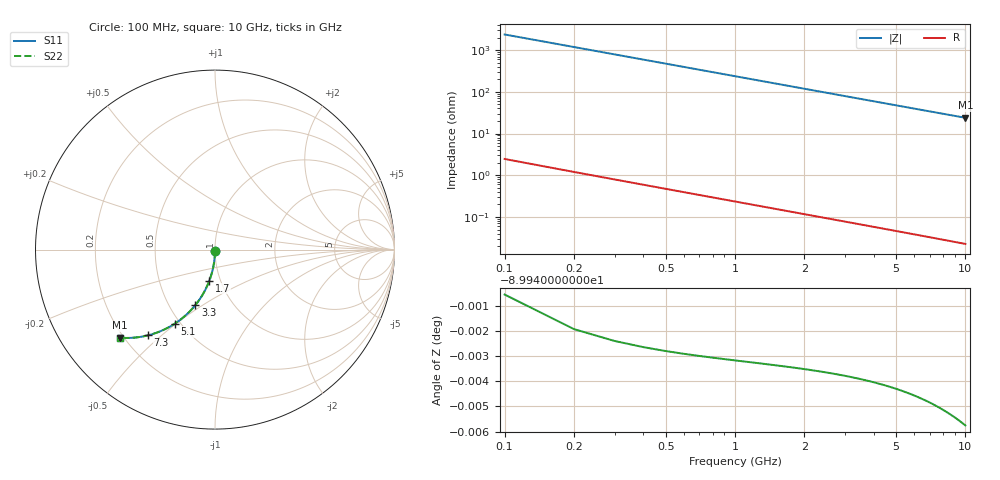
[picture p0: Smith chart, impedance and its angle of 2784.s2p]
# Hz S RI R 50.00
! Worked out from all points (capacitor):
!   100 points, 100 MHz to 10 GHz, reference 50 ohm
!   read as one part in shunt: C = 673 fF near 100 MHz
!   lowest |Z| = 23.8 ohm at 10 GHz (marker M1)
!   S11 on the Smith chart (normalised r, x): 100 MHz: 1.00, -0.02; 1.7 GHz: 0.89, -0.32; 3.3 GHz: 0.67, -0.47; 5.1 GHz: 0.47, -0.49; 7.3 GHz: 0.30, -0.45; 10 GHz: 0.19, -0.38
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1e8  -7.54e-05 -0.0105  0.9998 -0.0106  0.9998 -0.0106  -7.54e-05 -0.0105
2e8  -0.000421 -0.021  0.9995 -0.0213  0.9995 -0.0213  -0.000421 -0.021
3e8  -0.000989 -0.0315  0.9989 -0.0319  0.9989 -0.0319  -0.000989 -0.0315
4e8  -0.00178 -0.0419  0.9981 -0.0425  0.9981 -0.0425  -0.00178 -0.0419
5e8  -0.00279 -0.0523  0.9971 -0.0531  0.9971 -0.0531  -0.00279 -0.0523
6e8  -0.00402 -0.0627  0.9959 -0.0636  0.9959 -0.0636  -0.00402 -0.0627
8e8  -0.00714 -0.0833  0.9928 -0.0846  0.9928 -0.0846  -0.00714 -0.0833
9e8  -0.00901 -0.0936  0.9909 -0.095  0.9909 -0.095  -0.00901 -0.0936
1.1e9  -0.0134 -0.1139  0.9865 -0.1155  0.9865 -0.1155  -0.0134 -0.1139
1.4e9  -0.0215 -0.1437  0.9784 -0.1459  0.9784 -0.1459  -0.0215 -0.1437
1.7e9  -0.0314 -0.1727  0.9685 -0.1753  0.9685 -0.1753  -0.0314 -0.1727
1.8e9  -0.0351 -0.1822  0.9648 -0.1849  0.9648 -0.1849  -0.0351 -0.1822
2.1e9  -0.0471 -0.2099  0.9528 -0.2131  0.9528 -0.2131  -0.0471 -0.2099
2.5e9  -0.0654 -0.245  0.9344 -0.2488  0.9344 -0.2488  -0.0654 -0.245
3.3e9  -0.1087 -0.3083  0.8912 -0.3133  0.8912 -0.3133  -0.1087 -0.3083
3.4e9  -0.1146 -0.3155  0.8853 -0.3207  0.8853 -0.3207  -0.1146 -0.3155
4.2e9  -0.1649 -0.3674  0.835 -0.3738  0.835 -0.3738  -0.1649 -0.3674
5.1e9  -0.2254 -0.4135  0.7745 -0.4213  0.7745 -0.4213  -0.2254 -0.4135
6.7e9  -0.3342 -0.4661  0.6656 -0.4764  0.6656 -0.4764  -0.3342 -0.4661
7.3e9  -0.3734 -0.4776  0.6264 -0.4888  0.6264 -0.4888  -0.3734 -0.4776
8.4e9  -0.4411 -0.4895  0.5588 -0.5025  0.5588 -0.5025  -0.4411 -0.4895
1e10  -0.528 -0.491  0.4718 -0.5064  0.4718 -0.5064  -0.528 -0.491
